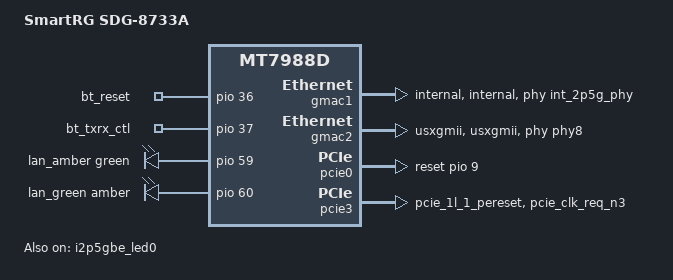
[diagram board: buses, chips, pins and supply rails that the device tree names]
// SPDX-License-Identifier: (GPL-2.0 OR MIT)
/*
 * Copyright (C) 2024 SmartRG Inc.
 * Author: Chad Monroe <chad.monroe@smartrg.com>
 */

#include "mt7988a-smartrg-mt-stuart.dtsi"

/ {
	model = "SmartRG SDG-8733A";
	compatible = "smartrg,sdg-8733a", "mediatek,mt7988d";

	cpus {
		/delete-node/ cpu@3;
	};

	/delete-node/ gpio-export;
	/delete-node/ gpio-leds;

	gpio-export {
		compatible = "gpio-export";

		bluetooth_reset: bluetooth-reset {
			gpio-export,name = "bt_reset";
			gpio-export,direction_may_change;
			gpios = <&pio 36 GPIO_ACTIVE_HIGH>;
		};

		bluetooth_txrx_ctl: bluetooth-txrx-ctl {
			gpio-export,name = "bt_txrx_ctl";
			gpio-export,direction_may_change;
			gpios = <&pio 37 GPIO_ACTIVE_HIGH>;
		};
	};

	gpio-leds {
		compatible = "gpio-leds";

		lan_amber {
			color = <LED_COLOR_ID_GREEN>;
			function = "lan";
			gpios = <&pio 59 GPIO_ACTIVE_HIGH>;
		};

		lan_green {
			color = <LED_COLOR_ID_AMBER>;
			function = "lan";
			gpios = <&pio 60 GPIO_ACTIVE_HIGH>;
		};
	};
};

&fan {
	pwms = <&pwm 1 40000 0>;

	interrupts = <57 IRQ_TYPE_EDGE_FALLING>;
};

&gmac0 {
	status = "disabled";
};

&gmac1 {
	label = "lan";
	nvmem-cells = <&macaddr 1>;
	nvmem-cell-names = "mac-address";
	phy-mode = "internal";
	phy-connection-type = "internal";
	phy = <&int_2p5g_phy>;
};

&gmac2 {
	label = "wan";
	nvmem-cells = <&macaddr 0>;
	nvmem-cell-names = "mac-address";
	phy-mode = "usxgmii";
	phy-connection-type = "usxgmii";
	phy = <&phy8>;
};

&int_2p5g_phy {
	pinctrl-names = "i2p5gbe-led";
	pinctrl-0 = <&i2p5gbe_led0_pins>;
};

&mdio_bus {
	/delete-node/ ethernet-phy@0;
};

&pio {
	pcie3_1_pins: pcie3-pins-g1 {
		mux {
			function = "pcie";
			groups = "pcie_1l_1_pereset", "pcie_clk_req_n3";
		};
	};
};

&pcie0 {
	reset-gpios = <&pio 9 GPIO_ACTIVE_HIGH>;
};

&pcie1 {
	status = "disabled";
};

&pcie3 {
	pinctrl-names = "default";
	pinctrl-0 = <&pcie3_1_pins>;
	status = "okay";
};

&phy8 {
	reset-gpios = <&pio 62 GPIO_ACTIVE_LOW>;
	marvell,mdi-cfg-order = <0>;
};

&aqr_green_led {
	function = LED_FUNCTION_WAN;
};

&aqr_orange_led {
	function = LED_FUNCTION_WAN;
};

&aqr_white_led {
	function = LED_FUNCTION_WAN;
};

&i2p5gbe_led0 {
	color = <LED_COLOR_ID_GREEN>;
	status = "okay";
};

&ssusb0 {
	status = "disabled";
};

&ssusb1 {
	status = "disabled";
};

&switch {
	status = "disabled";
};

&tphy {
	status = "disabled";
};

&uart1 {
	status = "disabled";
};

&xphy {
	status = "disabled";
};
